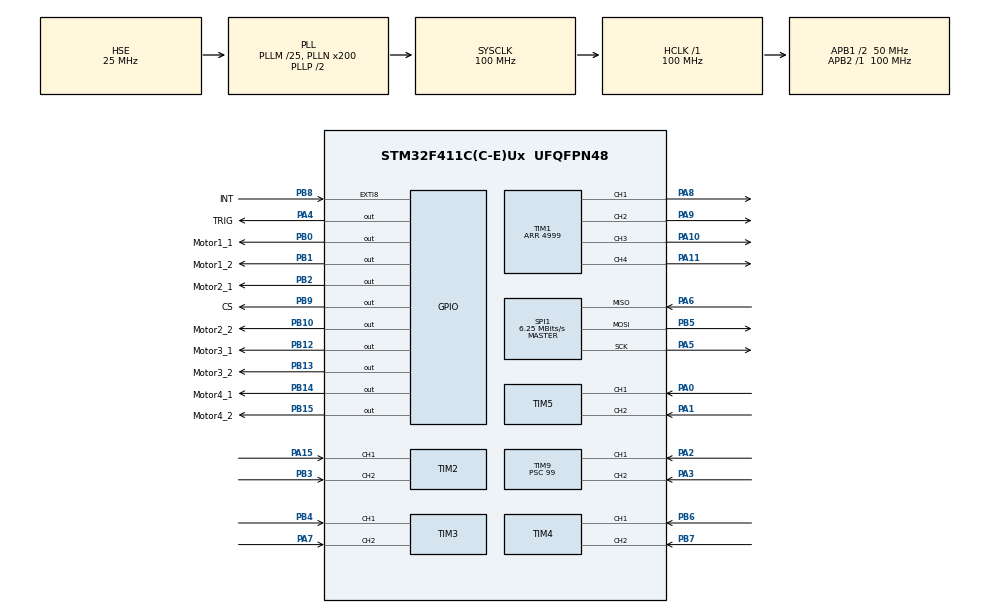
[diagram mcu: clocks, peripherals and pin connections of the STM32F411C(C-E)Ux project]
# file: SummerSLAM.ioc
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Mcu.Family=STM32F4
Mcu.Name=STM32F411C(C-E)Ux
Mcu.Package=UFQFPN48
NVIC.EXTI9_5_IRQn=true\:0\:0\:false\:false\:true\:true\:true\:true
NVIC.PriorityGroup=NVIC_PRIORITYGROUP_4
NVIC.TIM1_BRK_TIM9_IRQn=true\:0\:0\:false\:false\:true\:true\:true\:true
PA0-WKUP.Signal=S_TIM5_CH1
PA1.Signal=S_TIM5_CH2
PA10.Signal=S_TIM1_CH3
PA11.Signal=S_TIM1_CH4
PA13.Mode=Serial_Wire
PA13.Signal=SYS_JTMS-SWDIO
PA14.Mode=Serial_Wire
PA14.Signal=SYS_JTCK-SWCLK
PA15.Signal=S_TIM2_CH1_ETR
PA2.Signal=S_TIM9_CH1
PA3.Signal=S_TIM9_CH2
PA4.GPIO_Label=TRIG
PA4.Signal=GPIO_Output
PA5.Mode=Full_Duplex_Master
PA5.Signal=SPI1_SCK
PA6.Mode=Full_Duplex_Master
PA6.Signal=SPI1_MISO
PA7.Signal=S_TIM3_CH2
PA8.Signal=S_TIM1_CH1
PA9.Signal=S_TIM1_CH2
PB0.GPIO_Label=Motor1_1
PB0.Signal=GPIO_Output
PB1.GPIO_Label=Motor1_2
PB1.Signal=GPIO_Output
PB10.GPIO_Label=Motor2_2
PB10.Signal=GPIO_Output
PB12.GPIO_Label=Motor3_1
PB12.Signal=GPIO_Output
PB13.GPIO_Label=Motor3_2
PB13.Signal=GPIO_Output
PB14.GPIO_Label=Motor4_1
PB14.Signal=GPIO_Output
PB15.GPIO_Label=Motor4_2
PB15.Signal=GPIO_Output
PB2.GPIO_Label=Motor2_1
PB2.Signal=GPIO_Output
PB3.Signal=S_TIM2_CH2
PB4.Signal=S_TIM3_CH1
PB5.Mode=Full_Duplex_Master
PB5.Signal=SPI1_MOSI
PB6.Signal=S_TIM4_CH1
PB7.Signal=S_TIM4_CH2
PB8.GPIO_Label=INT
PB8.GPIO_ModeDefaultEXTI=GPIO_MODE_IT_FALLING
PB8.GPIO_PuPd=GPIO_PULLUP
PB8.Signal=GPXTI8
PB9.GPIO_Label=CS
PB9.Signal=GPIO_Output
PH0\ -\ OSC_IN.Mode=HSE-External-Oscillator
PH0\ -\ OSC_IN.Signal=RCC_OSC_IN
PH1\ -\ OSC_OUT.Mode=HSE-External-Oscillator
PH1\ -\ OSC_OUT.Signal=RCC_OSC_OUT
ProjectManager.HeapSize=0x200
ProjectManager.StackSize=0x400
ProjectManager.TargetToolchain=CMake
RCC.48MHZClocksFreq_Value=50000000
RCC.AHBFreq_Value=100000000
RCC.APB1CLKDivider=RCC_HCLK_DIV2
RCC.APB1Freq_Value=50000000
RCC.APB1TimFreq_Value=100000000
RCC.APB2Freq_Value=100000000
RCC.APB2TimFreq_Value=100000000
RCC.CortexFreq_Value=100000000
RCC.HCLKFreq_Value=100000000
RCC.HSE_VALUE=25000000
RCC.HSI_VALUE=16000000
RCC.LSE_VALUE=32768
RCC.PLLM=25
RCC.PLLN=200
RCC.PLLSourceVirtual=RCC_PLLSOURCE_HSE
RCC.SYSCLKFreq_VALUE=100000000
RCC.SYSCLKSource=RCC_SYSCLKSOURCE_PLLCLK
RCC.VCOOutputFreq_Value=200000000
SH.S_TIM1_CH1.0=TIM1_CH1,PWM Generation1 CH1
SH.S_TIM1_CH2.0=TIM1_CH2,PWM Generation2 CH2
SH.S_TIM1_CH3.0=TIM1_CH3,PWM Generation3 CH3
SH.S_TIM1_CH4.0=TIM1_CH4,PWM Generation4 CH4
SH.S_TIM2_CH1_ETR.0=TIM2_CH1,Encoder_Interface
SH.S_TIM2_CH2.0=TIM2_CH2,Encoder_Interface
SH.S_TIM3_CH1.0=TIM3_CH1,Encoder_Interface
SH.S_TIM3_CH2.0=TIM3_CH2,Encoder_Interface
SH.S_TIM4_CH1.0=TIM4_CH1,Encoder_Interface
SH.S_TIM4_CH2.0=TIM4_CH2,Encoder_Interface
SH.S_TIM5_CH1.0=TIM5_CH1,Encoder_Interface
SH.S_TIM5_CH2.0=TIM5_CH2,Encoder_Interface
SH.S_TIM9_CH1.0=TIM9_CH1,Input_Capture1_from_TI1
SH.S_TIM9_CH2.0=TIM9_CH2,Input_Capture2_from_TI2
SPI1.BaudRatePrescaler=SPI_BAUDRATEPRESCALER_16
SPI1.CalculateBaudRate=6.25 MBits/s
SPI1.Direction=SPI_DIRECTION_2LINES
SPI1.Mode=SPI_MODE_MASTER
SPI1.VirtualType=VM_MASTER
TIM1.AutoReloadPreload=TIM_AUTORELOAD_PRELOAD_ENABLE
TIM1.Channel-PWM\ Generation1\ CH1=TIM_CHANNEL_1
TIM1.Channel-PWM\ Generation2\ CH2=TIM_CHANNEL_2
TIM1.Channel-PWM\ Generation3\ CH3=TIM_CHANNEL_3
TIM1.Channel-PWM\ Generation4\ CH4=TIM_CHANNEL_4
TIM1.Period=4999
TIM2.EncoderMode=TIM_ENCODERMODE_TI12
TIM3.EncoderMode=TIM_ENCODERMODE_TI12
TIM4.EncoderMode=TIM_ENCODERMODE_TI12
TIM5.EncoderMode=TIM_ENCODERMODE_TI12
TIM9.Channel-Input_Capture1_from_TI1=TIM_CHANNEL_1
TIM9.Channel-Input_Capture2_from_TI2=TIM_CHANNEL_2
TIM9.Prescaler=99
VP_TIM1_VS_ClockSourceINT.Mode=Internal
board=custom

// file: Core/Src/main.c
/* USER CODE BEGIN Header */
/**
  ******************************************************************************
  * @file           : main.c
  * @brief          : Main program body
  ******************************************************************************
  * @attention
  *
  * Copyright (c) 2026 STMicroelectronics.
  * All rights reserved.
  *
  * This software is licensed under terms that can be found in the LICENSE file
  * in the root directory of this software component.
  * If no LICENSE file comes with this software, it is provided AS-IS.
  *
  ******************************************************************************
  */
/* USER CODE END Header */
#include "main.h"

/* USER CODE BEGIN Includes */
#include "mcp2515.h"
#include "can.h"
#include "hc_sr04.h"
#include <string.h>
/* USER CODE END Includes */

/* USER CODE BEGIN PTD */
typedef struct {
  float kp, ki, kd;
  float integral;
  float prev_error;
} PID_t;

typedef struct {
  TIM_HandleTypeDef* enc_tim;   // encoder timer
  uint32_t pwm_ch;              // TIM1 PWM channel
  uint16_t fwd_pin;             // direction forward
  uint16_t rev_pin;             // direction reverse
  int16_t target_rpm;           // from CAN 0x100
  int32_t cum_ticks;            // cumulative encoder ticks
  uint16_t prev_cnt;            // previous raw counter (for 16-bit overflow)
  uint8_t is_32bit;             // 1=32-bit timer, 0=16-bit
  PID_t pid;
} Motor_t;

// ── Motor index <-> physical wheel position ──
// This is the single source of truth for which motor index corresponds
// to which physical corner of the x-drive chassis. It MUST stay in sync
// with:
//   - odometry.py's MOTOR_MAP (RPi side, {0:"fl",1:"fr",2:"rl",3:"rr"})
//   - ps2_drive_test.py's inverse-kinematics ordering (m0=fl,m1=fr,m2=rl,m3=rr)
//   - CAN 0x100 (velocity command) / 0x200,0x201 (encoder feedback) payload order
// Confirmed against physical wiring 2026-07-03: see PROJECT_STATE.md decision log.
typedef enum {
  MOTOR_FL = 0,  // front-left  -> TIM2 (32-bit encoder, PA15/PB3)
  MOTOR_FR = 1,  // front-right -> TIM3 (16-bit encoder, PB4/PA7)
  MOTOR_RL = 2,  // rear-left   -> TIM4 (16-bit encoder, PB6/PB7)
  MOTOR_RR = 3,  // rear-right  -> TIM5 (32-bit encoder, PA0/PA1)
} MotorPosition;
/* USER CODE END PTD */

/* USER CODE BEGIN PD */
#define NUM_MOTORS       4
#define PWM_PERIOD       4999
#define MAX_RPM          300

// Motor control mode:
//   0 = open-loop  -> joystick target RPM maps straight to PWM duty. No
//       encoder feedback in the control path, so the reversed encoders
//       can't cause PID runaway. This is what the RC + odometry-calibration
//       phase needs; odometry reads encoders directly and does NOT depend
//       on closed-loop speed control.
//   1 = closed-loop speed PID (see pid_compute + ENC_SIGN). Re-enable later
//       for autonomous cmd_vel driving. The PID code is retained below.
#define USE_PID          0

// Encoder counts per output-shaft revolution
// GA12-N20: 7 PPR motor × gear_ratio × 4 (TI12 mode)
// Adjust this after measuring your actual encoder!
#define ENCODER_CPR      2800

// PID gains (tune these on real hardware) -- only used when USE_PID = 1
#define PID_KP           8.0f
#define PID_KI           2.0f
#define PID_KD           0.1f

// Timing
#define PID_INTERVAL_MS  20     // control + encoder send rate (20ms = 50Hz)
#define HEARTBEAT_TIMEOUT_MS 200

// CAN IDs
#define CAN_ID_VEL_CMD   0x100   // payload: int16 target RPM x4, order = [MOTOR_FL, MOTOR_FR, MOTOR_RL, MOTOR_RR]
#define CAN_ID_ENCODER_0 0x200   // payload: int32 cum_ticks x2 = [MOTOR_FL, MOTOR_FR]
#define CAN_ID_ENCODER_1 0x201   // payload: int32 cum_ticks x2 = [MOTOR_RL, MOTOR_RR]
#define CAN_ID_ULTRASONIC 0x202  // payload: right_mm, back_mm, validity status
#define CAN_ID_HEARTBEAT 0x300
/* USER CODE END PD */

SPI_HandleTypeDef hspi1;

TIM_HandleTypeDef htim1;
TIM_HandleTypeDef htim2;
TIM_HandleTypeDef htim3;
TIM_HandleTypeDef htim4;
TIM_HandleTypeDef htim5;
TIM_HandleTypeDef htim9;

/* USER CODE BEGIN PV */
Motor_t motors[NUM_MOTORS];
uint32_t last_heartbeat = 0;
uint32_t last_pid_time = 0;

#if USE_PID
// Encoder direction vs. motor-command direction, per motor index.
// CALIBRATED 2026-07-04: all four encoders count DOWN when the motor is
// driven forward (target_rpm > 0). Without this correction the PID uses
// the raw (reversed) count as feedback, which turns speed control into
// POSITIVE feedback and makes the motors run away to full speed on the
// slightest disturbance. This sign is ONLY applied to the PID feedback;
// the cumulative ticks sent over CAN (0x200/0x201) stay raw, so the RPi
// odometry keeps its own ENCODER_SIGN = -1 and needs no change.
static const int8_t ENC_SIGN[NUM_MOTORS] = {-1, -1, -1, -1};
#endif
/* USER CODE END PV */

void SystemClock_Config(void);
static void MX_GPIO_Init(void);
static void MX_SPI1_Init(void);
static void MX_TIM1_Init(void);
static void MX_TIM2_Init(void);
static void MX_TIM3_Init(void);
static void MX_TIM4_Init(void);
static void MX_TIM5_Init(void);
static void MX_TIM9_Init(void);

/* USER CODE BEGIN 0 */

// ── Read encoder ticks (handles 16-bit overflow) ──
void encoder_update(Motor_t* m) {
  if (m->is_32bit) {
    m->cum_ticks = (int32_t)__HAL_TIM_GET_COUNTER(m->enc_tim);
  } else {
    uint16_t cnt = (uint16_t)__HAL_TIM_GET_COUNTER(m->enc_tim);
    int16_t delta = (int16_t)(cnt - m->prev_cnt);
    m->cum_ticks += delta;
    m->prev_cnt = cnt;
  }
}

#if USE_PID
// ── PID compute: returns PWM duty (signed, +=forward) ──
// Retained for the future closed-loop phase; compiled only when USE_PID=1.
float pid_compute(PID_t* pid, float target, float actual, float dt) {
  float error = target - actual;
  pid->integral += error * dt;

  // Anti-windup: clamp integral
  if (pid->integral > 500.0f) pid->integral = 500.0f;
  if (pid->integral < -500.0f) pid->integral = -500.0f;

  float derivative = (dt > 0.0f) ? (error - pid->prev_error) / dt : 0.0f;
  pid->prev_error = error;

  return pid->kp * error + pid->ki * pid->integral + pid->kd * derivative;
}
#endif

// ── Set motor direction and PWM ──
void motor_set_pwm(Motor_t* m, int32_t duty) {
  if (duty > 0) {
    HAL_GPIO_WritePin(GPIOB, m->fwd_pin, GPIO_PIN_SET);
    HAL_GPIO_WritePin(GPIOB, m->rev_pin, GPIO_PIN_RESET);
  } else if (duty < 0) {
    HAL_GPIO_WritePin(GPIOB, m->fwd_pin, GPIO_PIN_RESET);
    HAL_GPIO_WritePin(GPIOB, m->rev_pin, GPIO_PIN_SET);
    duty = -duty;
  } else {
    HAL_GPIO_WritePin(GPIOB, m->fwd_pin, GPIO_PIN_RESET);
    HAL_GPIO_WritePin(GPIOB, m->rev_pin, GPIO_PIN_RESET);
  }
  if (duty > PWM_PERIOD) duty = PWM_PERIOD;
  __HAL_TIM_SET_COMPARE(&htim1, m->pwm_ch, (uint32_t)duty);
}

// ── Stop all motors ──
void motors_stop(void) {
  for (int i = 0; i < NUM_MOTORS; i++) {
    motors[i].target_rpm = 0;
    motor_set_pwm(&motors[i], 0);
  }
}

/* USER CODE END 0 */

int main(void)
{

  /* MCU Configuration--------------------------------------------------------*/

  /* Reset of all peripherals, Initializes the Flash interface and the Systick. */
  HAL_Init();

  /* Configure the system clock */
  SystemClock_Config();

  /* Initialize all configured peripherals */
  MX_GPIO_Init();
  MX_SPI1_Init();
  MX_TIM1_Init();
  MX_TIM2_Init();
  MX_TIM3_Init();
  MX_TIM4_Init();
  MX_TIM5_Init();
  MX_TIM9_Init();
  /* USER CODE BEGIN 2 */

  // ── Motor config table ──
  // Indexed by MotorPosition (see typedef above) -- NOT arbitrary order.
  // Wiring confirmed 2026-07-03: TIM2=FL, TIM3=FR, TIM4=RL, TIM5=RR.
  motors[MOTOR_FL] = (Motor_t){&htim2, TIM_CHANNEL_1, GPIO_PIN_1,  GPIO_PIN_0,  0, 0, 0, 1, {PID_KP,PID_KI,PID_KD, 0,0}};
  motors[MOTOR_FR] = (Motor_t){&htim3, TIM_CHANNEL_2, GPIO_PIN_10, GPIO_PIN_2,  0, 0, 0, 0, {PID_KP,PID_KI,PID_KD, 0,0}};
  motors[MOTOR_RL] = (Motor_t){&htim4, TIM_CHANNEL_3, GPIO_PIN_12, GPIO_PIN_13, 0, 0, 0, 0, {PID_KP,PID_KI,PID_KD, 0,0}};
  motors[MOTOR_RR] = (Motor_t){&htim5, TIM_CHANNEL_4, GPIO_PIN_14, GPIO_PIN_15, 0, 0, 0, 1, {PID_KP,PID_KI,PID_KD, 0,0}};

  // ── Start 4 encoder timers ──
  HAL_TIM_Encoder_Start(&htim2, TIM_CHANNEL_ALL);
  HAL_TIM_Encoder_Start(&htim3, TIM_CHANNEL_ALL);
  HAL_TIM_Encoder_Start(&htim4, TIM_CHANNEL_ALL);
  HAL_TIM_Encoder_Start(&htim5, TIM_CHANNEL_ALL);

  // ── Start 4 PWM channels (duty=0) ──
  HAL_TIM_PWM_Start(&htim1, TIM_CHANNEL_1);
  HAL_TIM_PWM_Start(&htim1, TIM_CHANNEL_2);
  HAL_TIM_PWM_Start(&htim1, TIM_CHANNEL_3);
  HAL_TIM_PWM_Start(&htim1, TIM_CHANNEL_4);

  // ── MCP2515 init ──
  CAN_Error err;
  err = MCP_reset();
  if (err == ERROR_OK) err = MCP_setBitrateClock(CAN_500KBPS, MCP_8MHZ);
  if (err == ERROR_OK) err = MCP_setNormalMode();

  // TIM9 input capture and the shared ultrasonic trigger output.
  HC_SR04_Init();

  last_heartbeat = HAL_GetTick();
  last_pid_time = HAL_GetTick();

  /* USER CODE END 2 */

  /* Infinite loop */
  /* USER CODE BEGIN WHILE */
  while (1)
  {
    /* USER CODE BEGIN WHILE */

    // ── Poll CAN messages ──
    can_frame rx_frame;
    if (MCP_readMessage(&rx_frame) == ERROR_OK) {

      // Velocity command (0x100): 4× int16 target RPM, order = MOTOR_FL/FR/RL/RR
      if (rx_frame.can_id == CAN_ID_VEL_CMD && rx_frame.can_dlc == 8) {
        int16_t rpm[4];
        memcpy(rpm, rx_frame.data, 8);
        for (int i = 0; i < NUM_MOTORS; i++) {
          motors[i].target_rpm = rpm[i];  // i indexes MotorPosition directly
        }
      }

      // Heartbeat (0x300)
      if (rx_frame.can_id == CAN_ID_HEARTBEAT) {
        last_heartbeat = HAL_GetTick();
      }
    }

    // ── Heartbeat alive? ──
    // If not, we must skip the control update entirely (below), otherwise the
    // control block would immediately re-drive the PWM that motors_stop() just
    // cleared, defeating the emergency stop.
    uint8_t hb_ok = (HAL_GetTick() - last_heartbeat <= HEARTBEAT_TIMEOUT_MS);
    if (!hb_ok) {
      motors_stop();
    }

    // ── Motor control + encoder send @ 20ms ──
    uint32_t now = HAL_GetTick();
    if (now - last_pid_time >= PID_INTERVAL_MS) {
#if USE_PID
      float dt = (now - last_pid_time) / 1000.0f;
      static int32_t prev_ticks[NUM_MOTORS] = {0};
#endif
      last_pid_time = now;

      for (int i = 0; i < NUM_MOTORS; i++) {
        // Always update the encoder (needed for cumulative ticks + CAN, and
        // so 16-bit timers don't silently wrap between reads), even when the
        // heartbeat is dead and motors are stopped.
        encoder_update(&motors[i]);

#if USE_PID
        // Closed-loop speed control with encoder-direction correction.
        int32_t delta = motors[i].cum_ticks - prev_ticks[i];
        prev_ticks[i] = motors[i].cum_ticks;
        float actual_rpm = (ENC_SIGN[i] * delta * 60.0f) / (dt * ENCODER_CPR);

        if (hb_ok) {
          float target = (float)motors[i].target_rpm;
          float output = pid_compute(&motors[i].pid, target, actual_rpm, dt);
          int32_t duty = (int32_t)(output * PWM_PERIOD / MAX_RPM);
          motor_set_pwm(&motors[i], duty);
        } else {
          // Emergency stop: keep motors off and reset PID state so the
          // integrator can't wind up while stopped (no bump on restart).
          motors[i].pid.integral = 0.0f;
          motors[i].pid.prev_error = 0.0f;
          motor_set_pwm(&motors[i], 0);
        }
#else
        // Open-loop: joystick target RPM maps straight to PWM duty. No
        // encoder feedback in the control path, so the reversed-encoder
        // polarity cannot cause runaway. motor_set_pwm() handles direction
        // sign and clamps magnitude to PWM_PERIOD.
        if (hb_ok) {
          int32_t duty = (int32_t)((float)motors[i].target_rpm * PWM_PERIOD / MAX_RPM);
          motor_set_pwm(&motors[i], duty);
        } else {
          motor_set_pwm(&motors[i], 0);
        }
#endif
      }

      // ── Send encoder data ──
      // Frame 0x200: MOTOR_FL + MOTOR_FR
      can_frame tx0;
      tx0.can_id = CAN_ID_ENCODER_0;
      tx0.can_dlc = 8;
      memcpy(&tx0.data[0], &motors[MOTOR_FL].cum_ticks, 4);
      memcpy(&tx0.data[4], &motors[MOTOR_FR].cum_ticks, 4);
      MCP_sendMessage(&tx0);

      // Frame 0x201: MOTOR_RL + MOTOR_RR
      can_frame tx1;
      tx1.can_id = CAN_ID_ENCODER_1;
      tx1.can_dlc = 8;
      memcpy(&tx1.data[0], &motors[MOTOR_RL].cum_ticks, 4);
      memcpy(&tx1.data[4], &motors[MOTOR_RR].cum_ticks, 4);
      MCP_sendMessage(&tx1);

      // Service one sequential right/back ultrasonic cycle. StartMeasurement
      // is a no-op while a cycle is active, so this remains non-blocking apart
      // from the 12 us trigger pulse.
      if (HC_SR04_IsComplete()) {
        HC_SR04_Result ultrasonic = HC_SR04_GetResult();
        can_frame tx_ultrasonic;
        tx_ultrasonic.can_id = CAN_ID_ULTRASONIC;
        tx_ultrasonic.can_dlc = 5;
        tx_ultrasonic.data[0] = (uint8_t)(ultrasonic.right_mm & 0xFFU);
        tx_ultrasonic.data[1] = (uint8_t)(ultrasonic.right_mm >> 8);
        tx_ultrasonic.data[2] = (uint8_t)(ultrasonic.back_mm & 0xFFU);
        tx_ultrasonic.data[3] = (uint8_t)(ultrasonic.back_mm >> 8);
        tx_ultrasonic.data[4] = ultrasonic.status;
        MCP_sendMessage(&tx_ultrasonic);
      }
      HC_SR04_StartMeasurement();
    }

    HAL_Delay(1);
    /* USER CODE END WHILE */

  }
}

void SystemClock_Config(void)
{
  RCC_OscInitTypeDef RCC_OscInitStruct = {0};
  RCC_ClkInitTypeDef RCC_ClkInitStruct = {0};

  /** Configure the main internal regulator output voltage
  */
  __HAL_RCC_PWR_CLK_ENABLE();
  __HAL_PWR_VOLTAGESCALING_CONFIG(PWR_REGULATOR_VOLTAGE_SCALE1);

  /** Initializes the RCC Oscillators according to the specified parameters
  * in the RCC_OscInitTypeDef structure.
  */
  RCC_OscInitStruct.OscillatorType = RCC_OSCILLATORTYPE_HSE;
  RCC_OscInitStruct.HSEState = RCC_HSE_ON;
  RCC_OscInitStruct.PLL.PLLState = RCC_PLL_ON;
  RCC_OscInitStruct.PLL.PLLSource = RCC_PLLSOURCE_HSE;
  RCC_OscInitStruct.PLL.PLLM = 25;
  RCC_OscInitStruct.PLL.PLLN = 200;
  RCC_OscInitStruct.PLL.PLLP = RCC_PLLP_DIV2;
  RCC_OscInitStruct.PLL.PLLQ = 4;
  if (HAL_RCC_OscConfig(&RCC_OscInitStruct) != HAL_OK)
  {
    Error_Handler();
  }

  /** Initializes the CPU, AHB and APB buses clocks
  */
  RCC_ClkInitStruct.ClockType = RCC_CLOCKTYPE_HCLK|RCC_CLOCKTYPE_SYSCLK
                              |RCC_CLOCKTYPE_PCLK1|RCC_CLOCKTYPE_PCLK2;
  RCC_ClkInitStruct.SYSCLKSource = RCC_SYSCLKSOURCE_PLLCLK;
  RCC_ClkInitStruct.AHBCLKDivider = RCC_SYSCLK_DIV1;
  RCC_ClkInitStruct.APB1CLKDivider = RCC_HCLK_DIV2;
  RCC_ClkInitStruct.APB2CLKDivider = RCC_HCLK_DIV1;

  if (HAL_RCC_ClockConfig(&RCC_ClkInitStruct, FLASH_LATENCY_3) != HAL_OK)
  {
    Error_Handler();
  }
}

static void MX_SPI1_Init(void)
{

  /* SPI1 parameter configuration*/
  hspi1.Instance = SPI1;
  hspi1.Init.Mode = SPI_MODE_MASTER;
  hspi1.Init.Direction = SPI_DIRECTION_2LINES;
  hspi1.Init.DataSize = SPI_DATASIZE_8BIT;
  hspi1.Init.CLKPolarity = SPI_POLARITY_LOW;
  hspi1.Init.CLKPhase = SPI_PHASE_1EDGE;
  hspi1.Init.NSS = SPI_NSS_SOFT;
  hspi1.Init.BaudRatePrescaler = SPI_BAUDRATEPRESCALER_16;
  hspi1.Init.FirstBit = SPI_FIRSTBIT_MSB;
  hspi1.Init.TIMode = SPI_TIMODE_DISABLE;
  hspi1.Init.CRCCalculation = SPI_CRCCALCULATION_DISABLE;
  hspi1.Init.CRCPolynomial = 10;
  if (HAL_SPI_Init(&hspi1) != HAL_OK)
  {
    Error_Handler();
  }

}

static void MX_TIM1_Init(void)
{

  TIM_ClockConfigTypeDef sClockSourceConfig = {0};
  TIM_MasterConfigTypeDef sMasterConfig = {0};
  TIM_OC_InitTypeDef sConfigOC = {0};
  TIM_BreakDeadTimeConfigTypeDef sBreakDeadTimeConfig = {0};

  htim1.Instance = TIM1;
  htim1.Init.Prescaler = 0;
  htim1.Init.CounterMode = TIM_COUNTERMODE_UP;
  htim1.Init.Period = 4999;
  htim1.Init.ClockDivision = TIM_CLOCKDIVISION_DIV1;
  htim1.Init.RepetitionCounter = 0;
  htim1.Init.AutoReloadPreload = TIM_AUTORELOAD_PRELOAD_ENABLE;
  if (HAL_TIM_Base_Init(&htim1) != HAL_OK)
  {
    Error_Handler();
  }
  sClockSourceConfig.ClockSource = TIM_CLOCKSOURCE_INTERNAL;
  if (HAL_TIM_ConfigClockSource(&htim1, &sClockSourceConfig) != HAL_OK)
  {
    Error_Handler();
  }
  if (HAL_TIM_PWM_Init(&htim1) != HAL_OK)
  {
    Error_Handler();
  }
  sMasterConfig.MasterOutputTrigger = TIM_TRGO_RESET;
  sMasterConfig.MasterSlaveMode = TIM_MASTERSLAVEMODE_DISABLE;
  if (HAL_TIMEx_MasterConfigSynchronization(&htim1, &sMasterConfig) != HAL_OK)
  {
    Error_Handler();
  }
  sConfigOC.OCMode = TIM_OCMODE_PWM1;
  sConfigOC.Pulse = 0;
  sConfigOC.OCPolarity = TIM_OCPOLARITY_HIGH;
  sConfigOC.OCNPolarity = TIM_OCNPOLARITY_HIGH;
  sConfigOC.OCFastMode = TIM_OCFAST_DISABLE;
  sConfigOC.OCIdleState = TIM_OCIDLESTATE_RESET;
  sConfigOC.OCNIdleState = TIM_OCNIDLESTATE_RESET;
  if (HAL_TIM_PWM_ConfigChannel(&htim1, &sConfigOC, TIM_CHANNEL_1) != HAL_OK)
  {
    Error_Handler();
  }
  if (HAL_TIM_PWM_ConfigChannel(&htim1, &sConfigOC, TIM_CHANNEL_2) != HAL_OK)
  {
    Error_Handler();
  }
  if (HAL_TIM_PWM_ConfigChannel(&htim1, &sConfigOC, TIM_CHANNEL_3) != HAL_OK)
  {
    Error_Handler();
  }
  if (HAL_TIM_PWM_ConfigChannel(&htim1, &sConfigOC, TIM_CHANNEL_4) != HAL_OK)
  {
    Error_Handler();
  }
  sBreakDeadTimeConfig.OffStateRunMode = TIM_OSSR_DISABLE;
  sBreakDeadTimeConfig.OffStateIDLEMode = TIM_OSSI_DISABLE;
  sBreakDeadTimeConfig.LockLevel = TIM_LOCKLEVEL_OFF;
  sBreakDeadTimeConfig.DeadTime = 0;
  sBreakDeadTimeConfig.BreakState = TIM_BREAK_DISABLE;
  sBreakDeadTimeConfig.BreakPolarity = TIM_BREAKPOLARITY_HIGH;
  sBreakDeadTimeConfig.AutomaticOutput = TIM_AUTOMATICOUTPUT_DISABLE;
  if (HAL_TIMEx_ConfigBreakDeadTime(&htim1, &sBreakDeadTimeConfig) != HAL_OK)
  {
    Error_Handler();
  }
  HAL_TIM_MspPostInit(&htim1);

}

static void MX_TIM2_Init(void)
{

  TIM_Encoder_InitTypeDef sConfig = {0};
  TIM_MasterConfigTypeDef sMasterConfig = {0};

  htim2.Instance = TIM2;
  htim2.Init.Prescaler = 0;
  htim2.Init.CounterMode = TIM_COUNTERMODE_UP;
  htim2.Init.Period = 4294967295;
  htim2.Init.ClockDivision = TIM_CLOCKDIVISION_DIV1;
  htim2.Init.AutoReloadPreload = TIM_AUTORELOAD_PRELOAD_DISABLE;
  sConfig.EncoderMode = TIM_ENCODERMODE_TI12;
  sConfig.IC1Polarity = TIM_ICPOLARITY_RISING;
  sConfig.IC1Selection = TIM_ICSELECTION_DIRECTTI;
  sConfig.IC1Prescaler = TIM_ICPSC_DIV1;
  sConfig.IC1Filter = 0;
  sConfig.IC2Polarity = TIM_ICPOLARITY_RISING;
  sConfig.IC2Selection = TIM_ICSELECTION_DIRECTTI;
  sConfig.IC2Prescaler = TIM_ICPSC_DIV1;
  sConfig.IC2Filter = 0;
  if (HAL_TIM_Encoder_Init(&htim2, &sConfig) != HAL_OK)
  {
    Error_Handler();
  }
  sMasterConfig.MasterOutputTrigger = TIM_TRGO_RESET;
  sMasterConfig.MasterSlaveMode = TIM_MASTERSLAVEMODE_DISABLE;
  if (HAL_TIMEx_MasterConfigSynchronization(&htim2, &sMasterConfig) != HAL_OK)
  {
    Error_Handler();
  }

}

static void MX_TIM3_Init(void)
{

  TIM_Encoder_InitTypeDef sConfig = {0};
  TIM_MasterConfigTypeDef sMasterConfig = {0};

  htim3.Instance = TIM3;
  htim3.Init.Prescaler = 0;
  htim3.Init.CounterMode = TIM_COUNTERMODE_UP;
  htim3.Init.Period = 65535;
  htim3.Init.ClockDivision = TIM_CLOCKDIVISION_DIV1;
  htim3.Init.AutoReloadPreload = TIM_AUTORELOAD_PRELOAD_DISABLE;
  sConfig.EncoderMode = TIM_ENCODERMODE_TI12;
  sConfig.IC1Polarity = TIM_ICPOLARITY_RISING;
  sConfig.IC1Selection = TIM_ICSELECTION_DIRECTTI;
  sConfig.IC1Prescaler = TIM_ICPSC_DIV1;
  sConfig.IC1Filter = 0;
  sConfig.IC2Polarity = TIM_ICPOLARITY_RISING;
  sConfig.IC2Selection = TIM_ICSELECTION_DIRECTTI;
  sConfig.IC2Prescaler = TIM_ICPSC_DIV1;
  sConfig.IC2Filter = 0;
  if (HAL_TIM_Encoder_Init(&htim3, &sConfig) != HAL_OK)
  {
    Error_Handler();
  }
  sMasterConfig.MasterOutputTrigger = TIM_TRGO_RESET;
  sMasterConfig.MasterSlaveMode = TIM_MASTERSLAVEMODE_DISABLE;
  if (HAL_TIMEx_MasterConfigSynchronization(&htim3, &sMasterConfig) != HAL_OK)
  {
    Error_Handler();
  }

}

static void MX_TIM4_Init(void)
{

  TIM_Encoder_InitTypeDef sConfig = {0};
  TIM_MasterConfigTypeDef sMasterConfig = {0};

  htim4.Instance = TIM4;
  htim4.Init.Prescaler = 0;
  htim4.Init.CounterMode = TIM_COUNTERMODE_UP;
  htim4.Init.Period = 65535;
  htim4.Init.ClockDivision = TIM_CLOCKDIVISION_DIV1;
  htim4.Init.AutoReloadPreload = TIM_AUTORELOAD_PRELOAD_DISABLE;
  sConfig.EncoderMode = TIM_ENCODERMODE_TI12;
  sConfig.IC1Polarity = TIM_ICPOLARITY_RISING;
  sConfig.IC1Selection = TIM_ICSELECTION_DIRECTTI;
  sConfig.IC1Prescaler = TIM_ICPSC_DIV1;
  sConfig.IC1Filter = 0;
  sConfig.IC2Polarity = TIM_ICPOLARITY_RISING;
  sConfig.IC2Selection = TIM_ICSELECTION_DIRECTTI;
  sConfig.IC2Prescaler = TIM_ICPSC_DIV1;
  sConfig.IC2Filter = 0;
  if (HAL_TIM_Encoder_Init(&htim4, &sConfig) != HAL_OK)
  {
    Error_Handler();
  }
  sMasterConfig.MasterOutputTrigger = TIM_TRGO_RESET;
  sMasterConfig.MasterSlaveMode = TIM_MASTERSLAVEMODE_DISABLE;
  if (HAL_TIMEx_MasterConfigSynchronization(&htim4, &sMasterConfig) != HAL_OK)
  {
    Error_Handler();
  }

}

static void MX_TIM5_Init(void)
{

  TIM_Encoder_InitTypeDef sConfig = {0};
  TIM_MasterConfigTypeDef sMasterConfig = {0};

  htim5.Instance = TIM5;
  htim5.Init.Prescaler = 0;
  htim5.Init.CounterMode = TIM_COUNTERMODE_UP;
  htim5.Init.Period = 4294967295;
  htim5.Init.ClockDivision = TIM_CLOCKDIVISION_DIV1;
  htim5.Init.AutoReloadPreload = TIM_AUTORELOAD_PRELOAD_DISABLE;
  sConfig.EncoderMode = TIM_ENCODERMODE_TI12;
  sConfig.IC1Polarity = TIM_ICPOLARITY_RISING;
  sConfig.IC1Selection = TIM_ICSELECTION_DIRECTTI;
  sConfig.IC1Prescaler = TIM_ICPSC_DIV1;
  sConfig.IC1Filter = 0;
  sConfig.IC2Polarity = TIM_ICPOLARITY_RISING;
  sConfig.IC2Selection = TIM_ICSELECTION_DIRECTTI;
  sConfig.IC2Prescaler = TIM_ICPSC_DIV1;
  sConfig.IC2Filter = 0;
  if (HAL_TIM_Encoder_Init(&htim5, &sConfig) != HAL_OK)
  {
    Error_Handler();
  }
  sMasterConfig.MasterOutputTrigger = TIM_TRGO_RESET;
  sMasterConfig.MasterSlaveMode = TIM_MASTERSLAVEMODE_DISABLE;
  if (HAL_TIMEx_MasterConfigSynchronization(&htim5, &sMasterConfig) != HAL_OK)
  {
    Error_Handler();
  }

}

static void MX_TIM9_Init(void)
{

  TIM_IC_InitTypeDef sConfigIC = {0};

  htim9.Instance = TIM9;
  htim9.Init.Prescaler = 99;
  htim9.Init.CounterMode = TIM_COUNTERMODE_UP;
  htim9.Init.Period = 65535;
  htim9.Init.ClockDivision = TIM_CLOCKDIVISION_DIV1;
  htim9.Init.AutoReloadPreload = TIM_AUTORELOAD_PRELOAD_DISABLE;
  if (HAL_TIM_IC_Init(&htim9) != HAL_OK)
  {
    Error_Handler();
  }
  sConfigIC.ICPolarity = TIM_INPUTCHANNELPOLARITY_RISING;
  sConfigIC.ICSelection = TIM_ICSELECTION_DIRECTTI;
  sConfigIC.ICPrescaler = TIM_ICPSC_DIV1;
  sConfigIC.ICFilter = 0;
  if (HAL_TIM_IC_ConfigChannel(&htim9, &sConfigIC, TIM_CHANNEL_1) != HAL_OK)
  {
    Error_Handler();
  }
  if (HAL_TIM_IC_ConfigChannel(&htim9, &sConfigIC, TIM_CHANNEL_2) != HAL_OK)
  {
    Error_Handler();
  }

}

static void MX_GPIO_Init(void)
{
  GPIO_InitTypeDef GPIO_InitStruct = {0};

  /* GPIO Ports Clock Enable */
  __HAL_RCC_GPIOH_CLK_ENABLE();
  __HAL_RCC_GPIOA_CLK_ENABLE();
  __HAL_RCC_GPIOB_CLK_ENABLE();

  /*Configure GPIO pin Output Level */
  HAL_GPIO_WritePin(TRIG_GPIO_Port, TRIG_Pin, GPIO_PIN_RESET);

  /*Configure GPIO pin Output Level */
  HAL_GPIO_WritePin(GPIOB, Motor1_1_Pin|Motor1_2_Pin|Motor2_1_Pin|Motor2_2_Pin
                          |Motor3_1_Pin|Motor3_2_Pin|Motor4_1_Pin|Motor4_2_Pin
                          |CS_Pin, GPIO_PIN_RESET);

  /*Configure GPIO pin : TRIG_Pin */
  GPIO_InitStruct.Pin = TRIG_Pin;
  GPIO_InitStruct.Mode = GPIO_MODE_OUTPUT_PP;
  GPIO_InitStruct.Pull = GPIO_NOPULL;
  GPIO_InitStruct.Speed = GPIO_SPEED_FREQ_LOW;
  HAL_GPIO_Init(TRIG_GPIO_Port, &GPIO_InitStruct);

  /*Configure GPIO pins : Motor1_1_Pin Motor1_2_Pin Motor2_1_Pin Motor2_2_Pin
                           Motor3_1_Pin Motor3_2_Pin Motor4_1_Pin Motor4_2_Pin
                           CS_Pin */
  GPIO_InitStruct.Pin = Motor1_1_Pin|Motor1_2_Pin|Motor2_1_Pin|Motor2_2_Pin
                          |Motor3_1_Pin|Motor3_2_Pin|Motor4_1_Pin|Motor4_2_Pin
                          |CS_Pin;
  GPIO_InitStruct.Mode = GPIO_MODE_OUTPUT_PP;
  GPIO_InitStruct.Pull = GPIO_NOPULL;
  GPIO_InitStruct.Speed = GPIO_SPEED_FREQ_LOW;
  HAL_GPIO_Init(GPIOB, &GPIO_InitStruct);

  /*Configure GPIO pin : INT_Pin */
  GPIO_InitStruct.Pin = INT_Pin;
  GPIO_InitStruct.Mode = GPIO_MODE_IT_FALLING;
  GPIO_InitStruct.Pull = GPIO_PULLUP;
  HAL_GPIO_Init(INT_GPIO_Port, &GPIO_InitStruct);

  /* EXTI interrupt init*/
  HAL_NVIC_SetPriority(EXTI9_5_IRQn, 0, 0);
  HAL_NVIC_EnableIRQ(EXTI9_5_IRQn);

}

void Error_Handler(void)
{
  __disable_irq();
  while (1)
  {
  }
}
